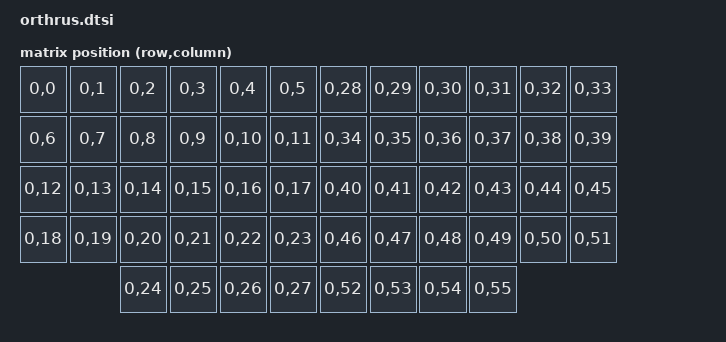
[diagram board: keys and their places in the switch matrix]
/*
 * Copyright (c) 2020 Pete Johanson
 *
 * SPDX-License-Identifier: MIT
 */

#include <dt-bindings/zmk/matrix_transform.h>

/ {
  chosen {
    zmk,matrix_transform = &default_transform;
  };

  default_transform: keymap_transform_0 {
    compatible = "zmk,matrix-transform";
    columns = <56>;
    rows = <1>;
// | SW1  | SW2  | SW3  | SW4  | SW5  | SW6  |   | SW6  | SW5  | SW4  | SW3  | SW2  | SW1  |
// | SW7  | SW8  | SW9  | SW10 | SW11 | SW12 |   | SW12 | SW11 | SW10 | SW9  | SW8  | SW7  |
// | SW13 | SW14 | SW15 | SW16 | SW17 | SW18 |   | SW18 | SW17 | SW16 | SW15 | SW14 | SW13 |
//                      | SW19 | SW20 | SW21 |   | SW21 | SW20 | SW19 |
    map = <
RC(0,0)  RC(0,1)  RC(0,2)  RC(0,3)  RC(0,4)  RC(0,5)   RC(0,28) RC(0,29) RC(0,30) RC(0,31) RC(0,32) RC(0,33)
RC(0,6)  RC(0,7)  RC(0,8)  RC(0,9)  RC(0,10) RC(0,11)  RC(0,34) RC(0,35) RC(0,36) RC(0,37) RC(0,38) RC(0,39)
RC(0,12) RC(0,13) RC(0,14) RC(0,15) RC(0,16) RC(0,17)  RC(0,40) RC(0,41) RC(0,42) RC(0,43) RC(0,44) RC(0,45)
RC(0,18) RC(0,19) RC(0,20) RC(0,21) RC(0,22) RC(0,23)  RC(0,46) RC(0,47) RC(0,48) RC(0,49) RC(0,50) RC(0,51)
                  RC(0,24) RC(0,25) RC(0,26) RC(0,27)  RC(0,52) RC(0,53) RC(0,54) RC(0,55)
    >;
  };
};
